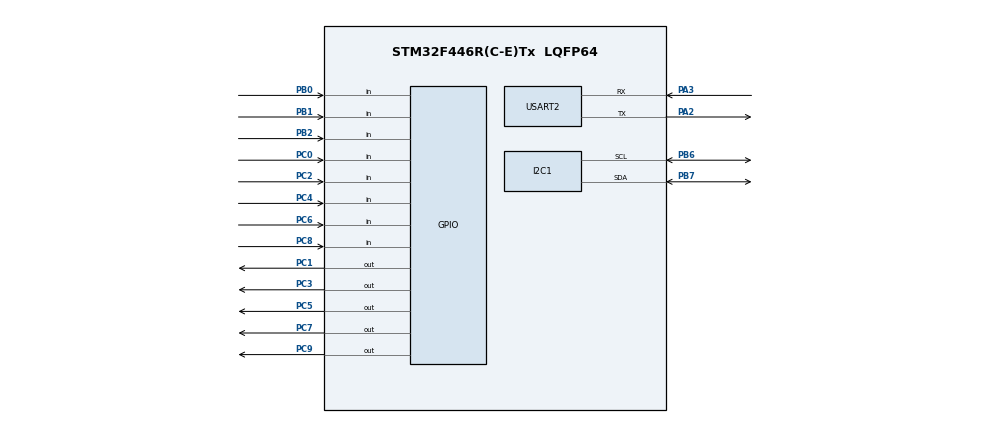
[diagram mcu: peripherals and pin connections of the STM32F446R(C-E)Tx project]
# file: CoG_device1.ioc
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I2C1.I2C_Mode=I2C_Fast
Mcu.Family=STM32F4
Mcu.Name=STM32F446R(C-E)Tx
Mcu.Package=LQFP64
NVIC.PriorityGroup=NVIC_PRIORITYGROUP_4
PA2.Mode=Asynchronous
PA2.Signal=USART2_TX
PA3.Mode=Asynchronous
PA3.Signal=USART2_RX
PB0.Signal=GPIO_Input
PB1.Signal=GPIO_Input
PB2.Signal=GPIO_Input
PB6.Mode=I2C
PB6.Signal=I2C1_SCL
PB7.Mode=I2C
PB7.Signal=I2C1_SDA
PC0.Signal=GPIO_Input
PC1.Signal=GPIO_Output
PC2.Signal=GPIO_Input
PC3.Signal=GPIO_Output
PC4.Signal=GPIO_Input
PC5.Signal=GPIO_Output
PC6.Signal=GPIO_Input
PC7.Signal=GPIO_Output
PC8.Signal=GPIO_Input
PC9.Signal=GPIO_Output
ProjectManager.HeapSize=0x200
ProjectManager.StackSize=0x400
ProjectManager.TargetToolchain=STM32CubeIDE
RCC.CortexFreq_Value=16000000
RCC.USBFreq_Value=96000000
RCC.VCOOutputFreq_Value=192000000
USART2.VirtualMode=VM_ASYNC
board=custom

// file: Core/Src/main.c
/* USER CODE BEGIN Header */
/**
  ******************************************************************************
  * @file           : main.c
  * @brief          : Main program body
  ******************************************************************************
  * @attention
  *
  * Copyright (c) 2025 STMicroelectronics.
  * All rights reserved.
  *
  * This software is licensed under terms that can be found in the LICENSE file
  * in the root directory of this software component.
  * If no LICENSE file comes with this software, it is provided AS-IS.
  *
  ******************************************************************************
  */

#include "mma845x.h"
#include <math.h>
#include <stdio.h>

/* USER CODE END Header */
#include "main.h"

/* USER CODE BEGIN PD */

#define DT1  GPIO_PIN_0
#define DT2  GPIO_PIN_8
#define DT3  GPIO_PIN_4
#define DT4  GPIO_PIN_6
#define DT_Port GPIOC

#define SCK1  GPIO_PIN_1
#define SCK2  GPIO_PIN_9
#define SCK3  GPIO_PIN_5
#define SCK4  GPIO_PIN_7
#define SCK_Port GPIOC

/* USER CODE END PD */

I2C_HandleTypeDef hi2c1;

UART_HandleTypeDef huart2;

/* USER CODE BEGIN PV */

// ------------------ variables for hx711 --------------------------
uint32_t raw1;
uint32_t raw2;
uint32_t raw3;
uint32_t raw4;

int count_num = 0;

float tare1 = 8298487.5;
float tare2 = 8670518;
float tare3 = 8617560;
float tare4 = 9115431;

float new_weight1;
float new_weight2;
float new_weight3;
float new_weight4;

float estimated_weight1 = 0.0;
float estimated_weight2 = 0.0;
float estimated_weight3 = 0.0;
float estimated_weight4 = 0.0;
// ------------------ variables for hx711 end --------------------------

// ------------------ variables for MMA8451 ----------------------------
//uint8_t who_am_i;
int16_t ax, ay, az;
float est_ax = 0, est_ay = 0, est_az = 1000;

float raw_pitch, raw_roll;
float pitch, roll;
// ------------------ variables for MMA8451 end ------------------------

// ------------------ variables for button -----------------------------
uint8_t reset;
uint8_t record;
uint8_t break_python;
// ------------------ variables for button end -------------------------

// ------------------ variables for output -----------------------------

char msg[256];

// ------------------ variables for output end -------------------------

/* USER CODE END PV */

void SystemClock_Config(void);
static void MX_GPIO_Init(void);
static void MX_I2C1_Init(void);
static void MX_USART2_UART_Init(void);

/* USER CODE BEGIN 0 */

void HX711_delay_us(uint32_t us)
{
    // 需要微秒級延遲，可以用 Timer 或簡單迴圈微調
    for (volatile uint32_t i = 0; i < us * 8; i++);
}

int32_t HX711_Read(GPIO_TypeDef* HX711_DT_GPIO_Port, uint16_t HX711_DT_Pin, GPIO_TypeDef* HX711_SCK_GPIO_Port, uint16_t HX711_SCK_Pin)
{
    int32_t count = 0;
    uint8_t i;

    // 等待 DOUT 變低，表示資料可讀
    while(HAL_GPIO_ReadPin(HX711_DT_GPIO_Port, HX711_DT_Pin));

    for (i = 0; i < 24; i++)
    {
        HAL_GPIO_WritePin(HX711_SCK_GPIO_Port, HX711_SCK_Pin, GPIO_PIN_SET);
        HX711_delay_us(1);

        count = count << 1;
        if (HAL_GPIO_ReadPin(HX711_DT_GPIO_Port, HX711_DT_Pin))
            count++;

        HAL_GPIO_WritePin(HX711_SCK_GPIO_Port, HX711_SCK_Pin, GPIO_PIN_RESET);
        HX711_delay_us(1);
    }

    // 第25個時脈：設定增益 (這裡預設 128)
    HAL_GPIO_WritePin(HX711_SCK_GPIO_Port, HX711_SCK_Pin, GPIO_PIN_SET);
    HX711_delay_us(1);
    HAL_GPIO_WritePin(HX711_SCK_GPIO_Port, HX711_SCK_Pin, GPIO_PIN_RESET);
    HX711_delay_us(1);

    // 轉成補數
    count ^= 0x800000;
    return count;
}

/* USER CODE END 0 */

int main(void)
{

  /* USER CODE BEGIN 1 */

  int count_valve = 200;

//  float know_kg1 = 2.5;
//  float know_read1 = 1072407;
//  float know_kg2 = 2.5;
//  float know_read2 = 911823.75;
//  float know_kg3 = 2.5;
//  float know_read3 = 964234.062;
//  float know_kg4 = 2.5;
//  float know_read4 = 1111481.38;

//  float know_kg1 = 2.5;
//  float know_read1 = 1125744.38;
//  float know_kg2 = 2.5;
//  float know_read2 = 878821.812;
//  float know_kg3 = 2.5;
//  float know_read3 = 993117.375;
//  float know_kg4 = 2.5;
//  float know_read4 = 1069001.75;

  float know_kg1 = 2.5;
  float know_read1 = 1092418.75;
  float know_kg2 = 2.5;
  float know_read2 = 1036434.56;
  float know_kg3 = 2.5;
  float know_read3 = 982481.312;
  float know_kg4 = 2.5;
  float know_read4 = 931829.5;

//  float know_kg1 = 1;
//  float know_read1 = 1;
//  float know_kg2 = 1;
//  float know_read2 = 1;
//  float know_kg3 = 1;
//  float know_read3 = 1;
//  float know_kg4 = 1;
//  float know_read4 = 1;

  float coefficient1 = know_kg1 / know_read1;
  float coefficient2 = know_kg2 / know_read2;
  float coefficient3 = know_kg3 / know_read3;
  float coefficient4 = know_kg4 / know_read4;

  float alpha = 0.9;

  /* USER CODE END 1 */

  /* MCU Configuration--------------------------------------------------------*/

  /* Reset of all peripherals, Initializes the Flash interface and the Systick. */
  HAL_Init();

  /* Configure the system clock */
  SystemClock_Config();

  /* Initialize all configured peripherals */
  MX_GPIO_Init();
  MX_I2C1_Init();
  MX_USART2_UART_Init();
  /* USER CODE BEGIN 2 */

  MMA845x_Init();

  /* USER CODE END 2 */

  /* Infinite loop */
  while (1)
  {

    /* USER CODE BEGIN 3 */
	// ------------------- HX711_part ----------------------------
	raw1 = HX711_Read(DT_Port, DT1, SCK_Port, SCK1);
	raw2 = HX711_Read(DT_Port, DT2, SCK_Port, SCK2);
	raw3 = HX711_Read(DT_Port, DT3, SCK_Port, SCK3);
	raw4 = HX711_Read(DT_Port, DT4, SCK_Port, SCK4);

	if (count_num <= count_valve) {
		tare1 = tare1 * alpha + raw1 * (1-alpha);
		tare2 = tare2 * alpha + raw2 * (1-alpha);
		tare3 = tare3 * alpha + raw3 * (1-alpha);
		tare4 = tare4 * alpha + raw4 * (1-alpha);
		count_num++;
	}
	else {
		new_weight1 = (raw1 - tare1) * coefficient1;
		new_weight2 = (raw2 - tare2) * coefficient2;
		new_weight3 = (raw3 - tare3) * coefficient3;
		new_weight4 = (raw4 - tare4) * coefficient4;
		estimated_weight1 = alpha * estimated_weight1 + (1-alpha) * new_weight1;
		estimated_weight2 = alpha * estimated_weight2 + (1-alpha) * new_weight2;
		estimated_weight3 = alpha * estimated_weight3 + (1-alpha) * new_weight3;
		estimated_weight4 = alpha * estimated_weight4 + (1-alpha) * new_weight4;
	}
	// ------------------- HX711_part End ----------------------------

	// ------------------- MMA8451_part ------------------------------

//	HAL_I2C_Mem_Read(&hi2c1, MMA845X_ADDR, 0x0D, 1, &who_am_i, 1, HAL_MAX_DELAY);
	MMA845x_ReadXYZ(&ax, &ay, &az);
	est_ax = alpha * est_ax + (1-alpha) * ax;
	est_ay = alpha * est_ay + (1-alpha) * ay;
	est_az = alpha * est_az + (1-alpha) * az;

	raw_pitch = atan2(-ax, sqrt(ay*ay + az*az));
	raw_roll = atan2(ay, az);

	pitch = atan2(-est_ax, sqrt(est_ay*est_ay + est_az*est_az));
	roll = atan2(est_ay, est_az);
	// ------------------- MMA8451_part End --------------------------

	// ------------------- button detect -----------------------------
	reset = HAL_GPIO_ReadPin(GPIOB, GPIO_PIN_0);
	record = HAL_GPIO_ReadPin(GPIOB, GPIO_PIN_1);
	break_python = HAL_GPIO_ReadPin(GPIOB, GPIO_PIN_2);

	if (reset > 0) {
		count_num = 0;
		tare1 = 8298487.5;
		tare2 = 8670518;
		tare3 = 8617560;
		tare4 = 9115431;
		new_weight1 = 0.0;
		new_weight2 = 0.0;
		new_weight3 = 0.0;
		new_weight4 = 0.0;
		estimated_weight1 = 0.0;
		estimated_weight2 = 0.0;
		estimated_weight3 = 0.0;
		estimated_weight4 = 0.0;
		HAL_Delay(1000);
	}

	int len = sprintf(msg, "%.6f,%.6f,%.6f,%.6f,%.6f,%.6f,%.6f,%.6f,%.6f,%.6f,%.6f,%.6f,%d,%d,%d\r\n",
			new_weight1, new_weight2, new_weight3, new_weight4, estimated_weight1, estimated_weight2, estimated_weight3, estimated_weight4,
			raw_pitch, raw_roll, pitch, roll, reset, record, break_python);
	HAL_UART_Transmit(&huart2, (uint8_t*)msg, len, HAL_MAX_DELAY);

	HAL_Delay(200);
  }
  /* USER CODE END 3 */
}

void SystemClock_Config(void)
{
  RCC_OscInitTypeDef RCC_OscInitStruct = {0};
  RCC_ClkInitTypeDef RCC_ClkInitStruct = {0};

  /** Configure the main internal regulator output voltage
  */
  __HAL_RCC_PWR_CLK_ENABLE();
  __HAL_PWR_VOLTAGESCALING_CONFIG(PWR_REGULATOR_VOLTAGE_SCALE3);

  /** Initializes the RCC Oscillators according to the specified parameters
  * in the RCC_OscInitTypeDef structure.
  */
  RCC_OscInitStruct.OscillatorType = RCC_OSCILLATORTYPE_HSI;
  RCC_OscInitStruct.HSIState = RCC_HSI_ON;
  RCC_OscInitStruct.HSICalibrationValue = RCC_HSICALIBRATION_DEFAULT;
  RCC_OscInitStruct.PLL.PLLState = RCC_PLL_NONE;
  if (HAL_RCC_OscConfig(&RCC_OscInitStruct) != HAL_OK)
  {
    Error_Handler();
  }

  /** Initializes the CPU, AHB and APB buses clocks
  */
  RCC_ClkInitStruct.ClockType = RCC_CLOCKTYPE_HCLK|RCC_CLOCKTYPE_SYSCLK
                              |RCC_CLOCKTYPE_PCLK1|RCC_CLOCKTYPE_PCLK2;
  RCC_ClkInitStruct.SYSCLKSource = RCC_SYSCLKSOURCE_HSI;
  RCC_ClkInitStruct.AHBCLKDivider = RCC_SYSCLK_DIV1;
  RCC_ClkInitStruct.APB1CLKDivider = RCC_HCLK_DIV1;
  RCC_ClkInitStruct.APB2CLKDivider = RCC_HCLK_DIV1;

  if (HAL_RCC_ClockConfig(&RCC_ClkInitStruct, FLASH_LATENCY_0) != HAL_OK)
  {
    Error_Handler();
  }
}

static void MX_I2C1_Init(void)
{

  hi2c1.Instance = I2C1;
  hi2c1.Init.ClockSpeed = 400000;
  hi2c1.Init.DutyCycle = I2C_DUTYCYCLE_2;
  hi2c1.Init.OwnAddress1 = 0;
  hi2c1.Init.AddressingMode = I2C_ADDRESSINGMODE_7BIT;
  hi2c1.Init.DualAddressMode = I2C_DUALADDRESS_DISABLE;
  hi2c1.Init.OwnAddress2 = 0;
  hi2c1.Init.GeneralCallMode = I2C_GENERALCALL_DISABLE;
  hi2c1.Init.NoStretchMode = I2C_NOSTRETCH_DISABLE;
  if (HAL_I2C_Init(&hi2c1) != HAL_OK)
  {
    Error_Handler();
  }

}

static void MX_USART2_UART_Init(void)
{

  huart2.Instance = USART2;
  huart2.Init.BaudRate = 115200;
  huart2.Init.WordLength = UART_WORDLENGTH_8B;
  huart2.Init.StopBits = UART_STOPBITS_1;
  huart2.Init.Parity = UART_PARITY_NONE;
  huart2.Init.Mode = UART_MODE_TX_RX;
  huart2.Init.HwFlowCtl = UART_HWCONTROL_NONE;
  huart2.Init.OverSampling = UART_OVERSAMPLING_16;
  if (HAL_UART_Init(&huart2) != HAL_OK)
  {
    Error_Handler();
  }

}

static void MX_GPIO_Init(void)
{
  GPIO_InitTypeDef GPIO_InitStruct = {0};

  /* GPIO Ports Clock Enable */
  __HAL_RCC_GPIOC_CLK_ENABLE();
  __HAL_RCC_GPIOA_CLK_ENABLE();
  __HAL_RCC_GPIOB_CLK_ENABLE();

  /*Configure GPIO pin Output Level */
  HAL_GPIO_WritePin(GPIOC, GPIO_PIN_1|GPIO_PIN_3|GPIO_PIN_5|GPIO_PIN_7
                          |GPIO_PIN_9, GPIO_PIN_RESET);

  /*Configure GPIO pins : PC0 PC2 PC4 PC6
                           PC8 */
  GPIO_InitStruct.Pin = GPIO_PIN_0|GPIO_PIN_2|GPIO_PIN_4|GPIO_PIN_6
                          |GPIO_PIN_8;
  GPIO_InitStruct.Mode = GPIO_MODE_INPUT;
  GPIO_InitStruct.Pull = GPIO_NOPULL;
  HAL_GPIO_Init(GPIOC, &GPIO_InitStruct);

  /*Configure GPIO pins : PC1 PC3 PC5 PC7
                           PC9 */
  GPIO_InitStruct.Pin = GPIO_PIN_1|GPIO_PIN_3|GPIO_PIN_5|GPIO_PIN_7
                          |GPIO_PIN_9;
  GPIO_InitStruct.Mode = GPIO_MODE_OUTPUT_PP;
  GPIO_InitStruct.Pull = GPIO_NOPULL;
  GPIO_InitStruct.Speed = GPIO_SPEED_FREQ_LOW;
  HAL_GPIO_Init(GPIOC, &GPIO_InitStruct);

  /*Configure GPIO pins : PB0 PB1 PB2 */
  GPIO_InitStruct.Pin = GPIO_PIN_0|GPIO_PIN_1|GPIO_PIN_2;
  GPIO_InitStruct.Mode = GPIO_MODE_INPUT;
  GPIO_InitStruct.Pull = GPIO_NOPULL;
  HAL_GPIO_Init(GPIOB, &GPIO_InitStruct);

}

void Error_Handler(void)
{
  __disable_irq();
  while (1)
  {
  }
}
